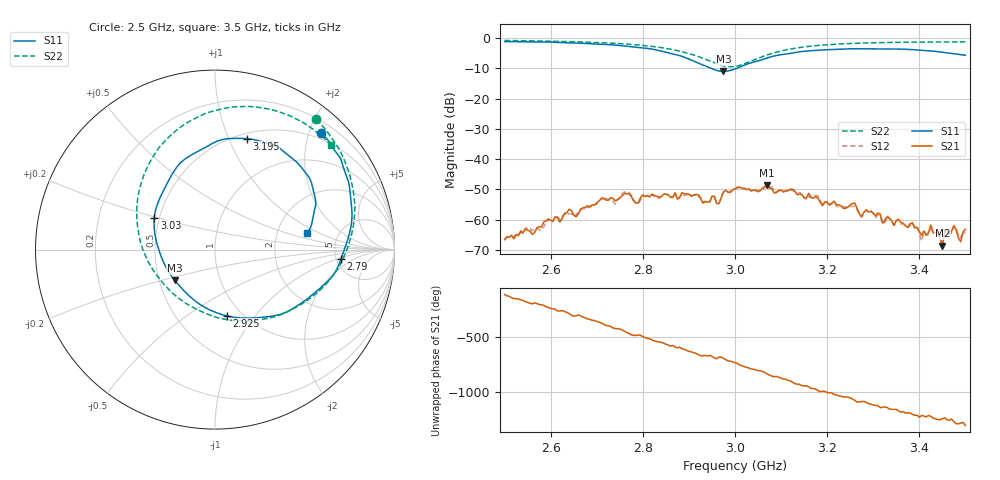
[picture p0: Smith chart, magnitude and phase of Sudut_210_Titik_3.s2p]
# Hz S RI R 50
! CMT, C1220, 16058040, 17.2.0/1
! Date: 15/08/2018 10:43:06
! Data: Format (Calibration Info)
! Freq  S11: Re/Im (F2)  S21: Re/Im (F2)  S12: Re/Im (F2)  S22: Re/Im (F2)
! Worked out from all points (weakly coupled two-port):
!   201 points, 2.5 GHz to 3.5 GHz, reference 50 ohm
!   highest |S21| = -48.61 dB at 3.07 GHz (marker M1); lowest = -68.6 dB at 3.45 GHz (marker M2)
!   lowest |S11| = -11.0 dB at 2.975 GHz (marker M3), VSWR 1.79, Z = 30.1 - j11.2 ohm
!   |S11| at or under -10 dB: 2.949 GHz to 3.003 GHz (53.91 MHz wide, 1.81 % of centre)
!   |S22| runs from -9.4 to -0.7 dB; largest |S21 - S12| = 0.0003
!   S11 on the Smith chart (normalised r, x): 2.5 GHz: 0.38, +2.20; 2.79 GHz: 5.50, -1.17; 2.925 GHz: 0.85, -0.73; 3.03 GHz: 0.47, +0.19; 3.195 GHz: 0.55, +1.17; 3.5 GHz: 2.98, +0.76
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2.5e9  0.592 0.6517  -0.000134 -0.000446  -0.000123 -0.000443  0.5643 0.7249
2.67e9  0.7498 0.3443  0.00108 0.00114  0.00112 0.00104  0.7377 0.4534
2.76e9  0.7413 0.0625  0.000375 -0.00268  0.000404 -0.00284  0.7784 0.2115
2.79e9  0.7018 -0.0537  -0.00088 -0.00168  -0.000961 -0.00156  0.766 0.1062
2.835e9  0.5902 -0.2113  -0.00235 7.63e-05  -0.00224 -4.35e-06  0.7052 -0.0688
2.925e9  0.0658 -0.3692  0.00134 0.00192  0.00118 0.00187  0.2948 -0.3826
2.965e9  -0.1767 -0.2257  0.0014 0.00117  0.00146 0.00116  -0.0223 -0.3673
2.975e9  -0.2245 -0.171  0.00251 0.00142  0.00245 0.00144  -0.0991 -0.3343
3e9  -0.3093 -0.013  0.00319 -0.000591  0.00312 -0.000708  -0.2706 -0.2079
3.03e9  -0.3381 0.1775  0.00162 -0.00276  0.00166 -0.00284  -0.4042 0.00648
3.07e9  -0.2499 0.4007  -0.00163 -0.00333  -0.00137 -0.00334  -0.4254 0.3148
3.17e9  0.0905 0.6189  -0.000852 0.0021  -0.00101 0.00205  -0.0904 0.7415
3.195e9  0.1759 0.6185  0.000121 0.00194  0.000202 0.00197  0.00102 0.7747
3.335e9  0.4893 0.4483  0.000283 -0.00101  0.000176 -0.00105  0.3933 0.7548
3.385e9  0.5422 0.3547  -0.000504 -0.000724  -0.0005 -0.000739  0.4887 0.7098
3.405e9  0.5543 0.3043  -0.000393 -0.000386  -0.000364 -0.000256  0.5196 0.6882
3.425e9  0.5617 0.2579  -0.000646 -0.000489  -0.000658 -0.000399  0.5496 0.6682
3.45e9  0.5511 0.2037  -0.000359 -0.000101  -0.000332 -0.000147  0.5857 0.6397
3.455e9  0.5485 0.1904  -0.000593 -0.000269  -0.000527 -0.000315  0.5923 0.6346
3.475e9  0.538 0.1396  -0.00078 0.000158  -0.000762 0.000152  0.6163 0.6122
3.49e9  0.5248 0.1099  -0.000391 0.000181  -0.000434 0.000244  0.634 0.594
3.5e9  0.515 0.092  -0.000478 0.000499  -0.000424 0.000415  0.6451 0.5829
